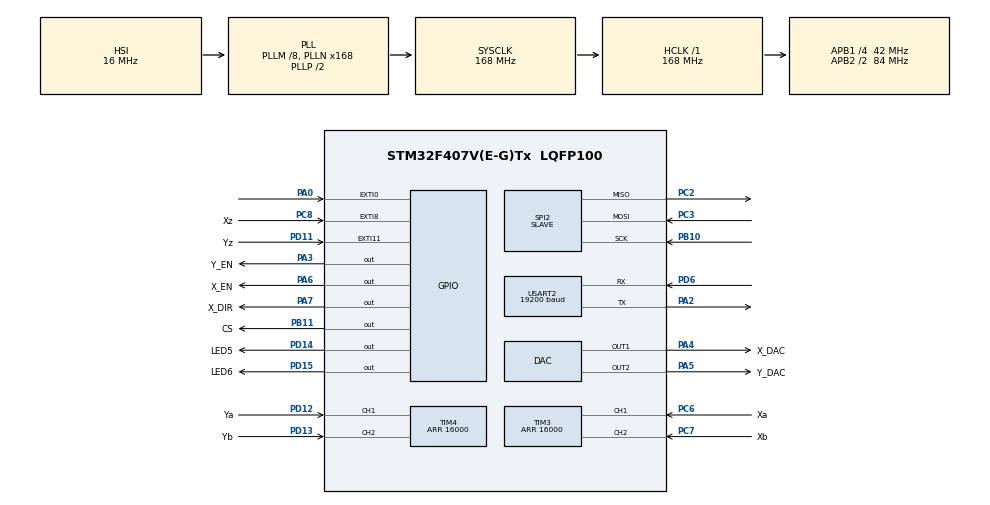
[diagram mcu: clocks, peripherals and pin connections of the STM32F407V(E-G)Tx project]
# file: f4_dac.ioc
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Dma.Request0=SPI2_RX
Dma.Request1=USART2_TX
Dma.SPI2_RX.0.Direction=DMA_PERIPH_TO_MEMORY
Dma.SPI2_RX.0.FIFOMode=DMA_FIFOMODE_DISABLE
Dma.SPI2_RX.0.Instance=DMA1_Stream3
Dma.SPI2_RX.0.MemDataAlignment=DMA_MDATAALIGN_HALFWORD
Dma.SPI2_RX.0.MemInc=DMA_MINC_ENABLE
Dma.SPI2_RX.0.Mode=DMA_CIRCULAR
Dma.SPI2_RX.0.PeriphDataAlignment=DMA_PDATAALIGN_HALFWORD
Dma.SPI2_RX.0.PeriphInc=DMA_PINC_DISABLE
Dma.SPI2_RX.0.Priority=DMA_PRIORITY_VERY_HIGH
Dma.USART2_TX.1.Direction=DMA_MEMORY_TO_PERIPH
Dma.USART2_TX.1.FIFOMode=DMA_FIFOMODE_DISABLE
Dma.USART2_TX.1.Instance=DMA1_Stream6
Dma.USART2_TX.1.MemDataAlignment=DMA_MDATAALIGN_BYTE
Dma.USART2_TX.1.MemInc=DMA_MINC_ENABLE
Dma.USART2_TX.1.Mode=DMA_CIRCULAR
Dma.USART2_TX.1.PeriphDataAlignment=DMA_PDATAALIGN_BYTE
Dma.USART2_TX.1.PeriphInc=DMA_PINC_DISABLE
Dma.USART2_TX.1.Priority=DMA_PRIORITY_MEDIUM
Mcu.Family=STM32F4
Mcu.Name=STM32F407V(E-G)Tx
Mcu.Package=LQFP100
NVIC.DMA1_Stream3_IRQn=true\:0\:0\:false\:false\:true\:false\:true
NVIC.DMA1_Stream6_IRQn=true\:0\:0\:false\:false\:true\:false\:true
NVIC.EXTI0_IRQn=true\:0\:0\:false\:false\:true\:true\:true
NVIC.PriorityGroup=NVIC_PRIORITYGROUP_0
NVIC.SPI2_IRQn=true\:0\:0\:false\:false\:true\:true\:true
NVIC.TIM2_IRQn=true\:0\:0\:false\:false\:true\:true\:true
NVIC.TIM3_IRQn=true\:0\:0\:false\:false\:true\:true\:true
NVIC.TIM4_IRQn=true\:0\:0\:false\:false\:true\:true\:true
NVIC.USART2_IRQn=true\:0\:0\:false\:false\:true\:true\:true
PA0-WKUP.GPIO_PuPd=GPIO_NOPULL
PA0-WKUP.Signal=GPXTI0
PA2.Mode=Asynchronous
PA2.Signal=USART2_TX
PA3.GPIO_Label=Y_EN
PA3.GPIO_PuPd=GPIO_PULLDOWN
PA3.Signal=GPIO_Output
PA4.GPIO_Label=X_DAC
PA4.Signal=COMP_DAC1_group
PA5.GPIO_Label=Y_DAC
PA5.Signal=COMP_DAC2_group
PA6.GPIO_Label=X_EN
PA6.GPIO_PuPd=GPIO_PULLDOWN
PA6.Signal=GPIO_Output
PA7.GPIO_Label=X_DIR
PA7.Signal=GPIO_Output
PB10.GPIO_Speed=GPIO_SPEED_FREQ_HIGH
PB10.Mode=Full_Duplex_Slave
PB10.Signal=SPI2_SCK
PB11.GPIO_Label=CS
PB11.GPIO_Speed=GPIO_SPEED_FREQ_VERY_HIGH
PB11.PinState=GPIO_PIN_SET
PB11.Signal=GPIO_Output
PC14-OSC32_IN.Mode=LSE-External-Oscillator
PC14-OSC32_IN.Signal=RCC_OSC32_IN
PC15-OSC32_OUT.Mode=LSE-External-Oscillator
PC15-OSC32_OUT.Signal=RCC_OSC32_OUT
PC2.Mode=Full_Duplex_Slave
PC2.Signal=SPI2_MISO
PC3.Mode=Full_Duplex_Slave
PC3.Signal=SPI2_MOSI
PC6.GPIO_Label=Xa
PC6.GPIO_PuPd=GPIO_PULLUP
PC6.Signal=S_TIM3_CH1
PC7.GPIO_Label=Xb
PC7.GPIO_PuPd=GPIO_PULLUP
PC7.Signal=S_TIM3_CH2
PC8.GPIO_Label=Xz
PC8.Signal=GPXTI8
PD11.GPIO_Label=Yz
PD11.Signal=GPXTI11
PD12.GPIO_Label=Ya
PD12.GPIO_PuPd=GPIO_PULLUP
PD12.Signal=S_TIM4_CH1
PD13.GPIO_Label=Yb
PD13.GPIO_PuPd=GPIO_PULLUP
PD13.Signal=S_TIM4_CH2
PD14.GPIO_Label=LED5
PD14.GPIO_PuPd=GPIO_NOPULL
PD14.GPIO_Speed=GPIO_SPEED_FREQ_VERY_HIGH
PD14.PinState=GPIO_PIN_SET
PD14.Signal=GPIO_Output
PD15.GPIO_Label=LED6
PD15.GPIO_Speed=GPIO_SPEED_FREQ_VERY_HIGH
PD15.PinState=GPIO_PIN_SET
PD15.Signal=GPIO_Output
PD6.Mode=Asynchronous
PD6.Signal=USART2_RX
PH0-OSC_IN.Mode=HSE-External-Oscillator
PH0-OSC_IN.Signal=RCC_OSC_IN
PH1-OSC_OUT.Mode=HSE-External-Oscillator
PH1-OSC_OUT.Signal=RCC_OSC_OUT
ProjectManager.HeapSize=0x200
ProjectManager.StackSize=0x400
ProjectManager.TargetToolchain=Other Toolchains (GPDSC)
RCC.48MHZClocksFreq_Value=48000000
RCC.AHBFreq_Value=168000000
RCC.APB1CLKDivider=RCC_HCLK_DIV4
RCC.APB1Freq_Value=42000000
RCC.APB1TimFreq_Value=84000000
RCC.APB2CLKDivider=RCC_HCLK_DIV2
RCC.APB2Freq_Value=84000000
RCC.APB2TimFreq_Value=168000000
RCC.CortexFreq_Value=168000000
RCC.HCLKFreq_Value=168000000
RCC.HSE_VALUE=8000000
RCC.HSI_VALUE=16000000
RCC.PLLM=8
RCC.PLLN=168
RCC.PLLQ=7
RCC.SYSCLKFreq_VALUE=168000000
RCC.SYSCLKSource=RCC_SYSCLKSOURCE_PLLCLK
RCC.VCOOutputFreq_Value=336000000
SH.COMP_DAC1_group.0=DAC_OUT1,DAC_OUT1
SH.COMP_DAC2_group.0=DAC_OUT2,DAC_OUT2
SH.S_TIM3_CH1.0=TIM3_CH1,Encoder_Interface
SH.S_TIM3_CH2.0=TIM3_CH2,Encoder_Interface
SH.S_TIM4_CH1.0=TIM4_CH1,Encoder_Interface
SH.S_TIM4_CH2.0=TIM4_CH2,Encoder_Interface
SPI2.DataSize=SPI_DATASIZE_16BIT
SPI2.Direction=SPI_DIRECTION_2LINES
SPI2.Mode=SPI_MODE_SLAVE
SPI2.VirtualType=VM_SLAVE
TIM2.ClockDivision=TIM_CLOCKDIVISION_DIV1
TIM2.Period=3
TIM2.Prescaler=2089
TIM3.EncoderMode=TIM_ENCODERMODE_TI12
TIM3.Period=16000
TIM4.EncoderMode=TIM_ENCODERMODE_TI12
TIM4.Period=16000
USART2.BaudRate=19200
USART2.Mode=MODE_TX
USART2.VirtualMode=VM_ASYNC
VP_TIM2_VS_ClockSourceINT.Mode=Internal
board=STM32F407G-DISC1

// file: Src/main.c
/* USER CODE BEGIN Header */
/**
  ******************************************************************************
  * @file           : main.c
  * @brief          : Main program body
  ******************************************************************************
  * @attention
  *
  * <h2><center>&copy; Copyright (c) 2019 STMicroelectronics.
  * All rights reserved.</center></h2>
  *
  * This software component is licensed by ST under BSD 3-Clause license,
  * the "License"; You may not use this file except in compliance with the
  * License. You may obtain a copy of the License at:
  *                        opensource.org/licenses/BSD-3-Clause
  *
  ******************************************************************************
  */
/* USER CODE END Header */

#include "main.h"
#include "dac.h"
#include "dma.h"
#include "spi.h"
#include "tim.h"
#include "usart.h"
#include "gpio.h"

/* USER CODE BEGIN Includes */
#include "math.h"
#include "input.h"
/* USER CODE END Includes */

/* USER CODE BEGIN PD */
#define division 0.046019 // linear mm per encoder count: pi*60mm/4096
#define PixelCountX 108.7 // Pixels per encoder count (X Axis)
#define xRpmDAC  1.365    // DAC per RPM X Axis
#define yRpmDAC  0.683    // DAC per RPM Y Axis
#define Yenable SET       // Enable Y Axis
#define Ydisable RESET    // Disable Y Axis
#define Xenable RESET     // Enable X Axis
#define Xdisable SET      // Disable X Axis
#define CCW RESET         // X Axis CCW Rotation
#define CW SET            // X Axis CW Rotation

/* USER CODE END PD */

/* USER CODE BEGIN PV */
volatile uint8_t flag = 0;    // Timer interrupt flag
volatile uint16_t posX = 0;   // combine all four POS in array
volatile uint16_t posY = 0;
volatile uint16_t posXNew;
volatile uint16_t posYNew;
volatile uint16_t malletX = 0;  // combine mallet in array
volatile uint16_t malletY = 0;
volatile float rpmX = 0.0;      // combine rpm in array
volatile float rpmY = 0.0;
volatile uint16_t puck[2];
volatile uint16_t msg[11];
volatile uint8_t testPosX = 75;
int32_t* rpm2DACX;
uint16_t testMAG;
uint8_t cycleNum;
uint8_t discardCycles;
int16_t rpmTarget;
int16_t rpmTargetX;
int16_t rpmTargetY;
volatile uint32_t count = 0;
const uint8_t puckPositionArray[5] = {50,75,140,30,95};
uint8_t index_point = 0;
uint8_t sysID[21];

/* USER CODE END PV */

void SystemClock_Config(void);
/* USER CODE BEGIN PFP */
void setXSpeed (int16_t rpm);
void setYSpeed (int16_t rpm);

/* USER CODE END PFP */

int main(void)
{

  /* MCU Configuration--------------------------------------------------------*/

  /* Reset of all peripherals, Initializes the Flash interface and the Systick. */
  HAL_Init();

  /* Configure the system clock */
  SystemClock_Config();

  /* Initialize all configured peripherals */
  MX_GPIO_Init();
  MX_DMA_Init();
  MX_DAC_Init();
  MX_SPI2_Init();
  MX_TIM3_Init();
  MX_TIM4_Init();
  MX_USART2_UART_Init();
  MX_TIM2_Init();
  /* USER CODE BEGIN 2 */

  // Start UART DMA
  HAL_UART_Transmit_DMA(&huart2, sysID, 21);

  // SPI init and start DMA
  HAL_SPI_Init(&hspi2);
  HAL_SPI_Receive_DMA(&hspi2, (uint8_t*)puck, 2);  // 2 16-bit words, X and Y position

  // Start timer interrupts
  HAL_TIM_Base_Start_IT(&htim2);                    // Sampling Period
  HAL_TIM_Base_Start_IT(&htim3);                    // X Axis Emergency Stop
  HAL_TIM_Base_Start_IT(&htim4);                    // Y Axis Emergency Stop

  // Start Encoders
  HAL_TIM_Encoder_Start(&htim3, TIM_CHANNEL_ALL);   // X Axis
  HAL_TIM_Encoder_Start(&htim4, TIM_CHANNEL_ALL);   // Y Axis

  // Start and Initialise DAC
  HAL_DAC_Start(&hdac, DAC_CHANNEL_1);              // X Axis
  setXSpeed(0);     // Set speed to Zero

  HAL_DAC_Start(&hdac, DAC_CHANNEL_2);              // Y Axis
  setYSpeed(0);  // Set Speed to Zero

  // // Enable Motors
  // if (TIM3->CNT <= htim3.Init.Period) {               // Check X Axis
  HAL_GPIO_WritePin(GPIOD, GPIO_PIN_14, RESET);          // LED 5 off
  // HAL_GPIO_WritePin(GPIOA, GPIO_PIN_6, RESET);        // Enable X Axis
  // }
  //
  // if (TIM4->CNT <= htim4.Init.Period) {               // Check Y Axis
  HAL_GPIO_WritePin(GPIOD, GPIO_PIN_15, RESET);         // LED 6 off
  // HAL_GPIO_WritePin(GPIOA, GPIO_PIN_3, SET);        // Enable Y Axis
  // }

  //  Test code for comissioning
  HAL_GPIO_WritePin(GPIOA, GPIO_PIN_6, Xdisable);   // X Axis enable/disable
  HAL_GPIO_WritePin(GPIOA, GPIO_PIN_3, Ydisable);   // Y Axis enable/disable
  // Set Speed, positive for forward, negative for reverse
  // setXSpeed(60);
  // setYSpeed(20);

  // Center encoder count for testing, remove later
  // (TIM3->CNT) = 4095;
  // (TIM4->CNT) = 35000;
  sprintf(sysID, "%05i\n", TIM4->CNT);  // Y Axis

  /* USER CODE END 2 */

  /* Infinite loop */
  while (1)
  {

    /* USER CODE BEGIN 3 */
    // Master timer elapsed
    if (flag == 1) {

      // Test parameters
      testMAG = 3000;     // Max RPM
      cycleNum = 15;      // Number of cycles to record
      discardCycles = 3;  // Number of cycles to discard at beginning

      // Send input to motor
      if (count < (discardCycles+cycleNum)*10000) {
        rpmTargetX = (int)(testMAG*sineX[count%10000]);
        rpmTargetY = (int)(testMAG*sineY[count%10000]);
        setXSpeed(rpmTargetX);   // X Axis
        setYSpeed(rpmTargetY);   // Y Axis
     }

     // Stop input after determined number of cycles
     else{
       rpmTarget = 0;
       setXSpeed(rpmTarget);   // X Axis
       setYSpeed(rpmTarget);   // Y Axis
     }

      // Determine Position
      malletX = (TIM3->CNT)/PixelCountX;
      malletY = (TIM4->CNT)/PixelCountX;

      // Determine RPM
      if (count%100 == 0) {
        posXNew = (TIM3->CNT);
        posYNew = (TIM4->CNT);
        rpmX = (((posXNew-posX)/4095.0)*6000);
        rpmY = (((posYNew-posY)/4095.0)*6000);
        posX = posXNew;
        posY = posYNew;

        // // Transmit data to UART
        // if ((count >= discardCycles*10000) && count < (discardCycles+cycleNum)*10000+100) {
        //   // sprintf(sysID, "%05i, %05i, %06i\n", count/10, rpmTargetY, (int)rpmX);  // X Axis
        //   sprintf(sysID, "%05i, %05i, %06i\n", count/10, rpmTargetY, (int)rpmY);  // Y Axis
        //
        // }

        flag = 0;
    }
  }
  //
  //   // // test position array increment every 2 seconds
  //   // if (count%2000 == 0) {
  //   //   testPosX = puckPositionArray[index_point%5];
  //   //   index++;
  //   // }
  //   //
    // Move X Axis to meet puck

    // // HAL_UART_Transmit(&huart2, msg, sizeof(msg), 10);
    // if (puck[1] >= 8 && puck[1] <= 143) {
    //   if ((uint16_t)fabs(puck[1]-malletX) >= 1) {
    //     setXSpeed((puck[1]-malletX)*25);
    //   }
    // }
    // else{
    //   setXSpeed(0);
    // }
    // sprintf(sysID, "%05d, %05d\n", puck[1], puck[0]);
    // HAL_UART_Transmit(&huart2, sysID, sizeof(sysID), 10);

    // // Transmit X Position, Y position to UART
    // uint8_t posMsg[11];
    // sprintf(posMsg, "%03i, %03i\n", puck[0], puck[1]);
    // HAL_UART_Transmit(&huart2, posMsg, sizeof(posMsg), 10);
    // HAL_Delay(250);
    //

  }
  /* USER CODE END 3 */
}

void SystemClock_Config(void)
{
  RCC_OscInitTypeDef RCC_OscInitStruct = {0};
  RCC_ClkInitTypeDef RCC_ClkInitStruct = {0};

  /** Configure the main internal regulator output voltage
  */
  __HAL_RCC_PWR_CLK_ENABLE();
  __HAL_PWR_VOLTAGESCALING_CONFIG(PWR_REGULATOR_VOLTAGE_SCALE1);
  /** Initializes the CPU, AHB and APB busses clocks
  */
  RCC_OscInitStruct.OscillatorType = RCC_OSCILLATORTYPE_HSI;
  RCC_OscInitStruct.HSIState = RCC_HSI_ON;
  RCC_OscInitStruct.HSICalibrationValue = RCC_HSICALIBRATION_DEFAULT;
  RCC_OscInitStruct.PLL.PLLState = RCC_PLL_ON;
  RCC_OscInitStruct.PLL.PLLSource = RCC_PLLSOURCE_HSI;
  RCC_OscInitStruct.PLL.PLLM = 8;
  RCC_OscInitStruct.PLL.PLLN = 168;
  RCC_OscInitStruct.PLL.PLLP = RCC_PLLP_DIV2;
  RCC_OscInitStruct.PLL.PLLQ = 7;
  if (HAL_RCC_OscConfig(&RCC_OscInitStruct) != HAL_OK)
  {
    Error_Handler();
  }
  /** Initializes the CPU, AHB and APB busses clocks
  */
  RCC_ClkInitStruct.ClockType = RCC_CLOCKTYPE_HCLK|RCC_CLOCKTYPE_SYSCLK
                              |RCC_CLOCKTYPE_PCLK1|RCC_CLOCKTYPE_PCLK2;
  RCC_ClkInitStruct.SYSCLKSource = RCC_SYSCLKSOURCE_PLLCLK;
  RCC_ClkInitStruct.AHBCLKDivider = RCC_SYSCLK_DIV1;
  RCC_ClkInitStruct.APB1CLKDivider = RCC_HCLK_DIV4;
  RCC_ClkInitStruct.APB2CLKDivider = RCC_HCLK_DIV2;

  if (HAL_RCC_ClockConfig(&RCC_ClkInitStruct, FLASH_LATENCY_5) != HAL_OK)
  {
    Error_Handler();
  }
}

/* USER CODE BEGIN 4 */

// Set X Axis speed and direction
void setXSpeed (int16_t rpm)
{
  uint32_t spd = (uint32_t)fabs(rpm*1.365);
  if (rpm==0) {
    spd = 0;
  }
  if (rpm < 0) {
    HAL_GPIO_WritePin(GPIOA, GPIO_PIN_7, CCW);         // X Axis rotation
  }
  else {
    HAL_GPIO_WritePin(GPIOA, GPIO_PIN_7, CW);         // X Axis rotation
  }
  HAL_DAC_SetValue(&hdac, DAC_CHANNEL_1, DAC_ALIGN_12B_R, spd);
}

// Set Y Axis speed and direction
void setYSpeed (int16_t rpm)
{
  uint32_t spd = 2047+(rpm*0.68267);
  if (rpm==0) {
    spd = 2047;
  }
  HAL_DAC_SetValue(&hdac, DAC_CHANNEL_2, DAC_ALIGN_12B_R, spd);
}

// void HAL_SPI_RxCpltCallback(SPI_HandleTypeDef *hspi)
// {
//   sprintf(sysID, "%05d, %05d\n", puck[1], puck[0]);// HAL_GPIO_TogglePin(GPIOD, GPIO_PIN_14);
// }

/* USER CODE END 4 */

void Error_Handler(void)
{
}

/************************ (C) COPYRIGHT STMicroelectronics *****END OF FILE****/
